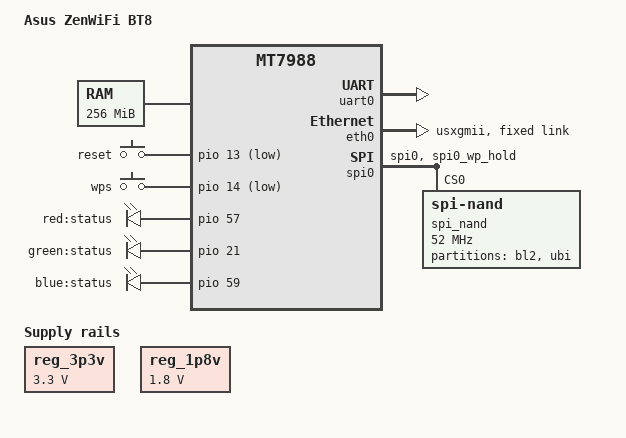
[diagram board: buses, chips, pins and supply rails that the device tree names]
// SPDX-License-Identifier: GPL-2.0
/*
 * Copyright (c) 2022 MediaTek Inc.
 * Author: Sam Shih <sam.shih@mediatek.com>
 */

/dts-v1/;
#include "mt7988.dtsi"
#include <dt-bindings/gpio/gpio.h>
#include <dt-bindings/input/linux-event-codes.h>

/ {
	model = "Asus ZenWiFi BT8";
	compatible = "asus,zenwifi-bt8", "mediatek,mt7988";

	chosen {
		stdout-path = &uart0;
	};

	memory@40000000 {
		device_type = "memory";
		reg = <0 0x40000000 0 0x10000000>;
	};

	reg_3p3v: regulator-3p3v {
		compatible = "regulator-fixed";
		regulator-name = "fixed-3.3V";
		regulator-min-microvolt = <3300000>;
		regulator-max-microvolt = <3300000>;
		regulator-boot-on;
		regulator-always-on;
	};

	reg_1p8v: regulator-1p8v {
		compatible = "regulator-fixed";
		regulator-name = "fixed-1.8V";
		regulator-min-microvolt = <1800000>;
		regulator-max-microvolt = <1800000>;
		regulator-boot-on;
		regulator-always-on;
	};

	keys {
		compatible = "gpio-keys";

		reset {
			label = "reset";
			linux,code = <KEY_RESTART>;
			gpios = <&pio 13 GPIO_ACTIVE_LOW>;
		};

		wps {
			label = "wps";
			linux,code = <KEY_WPS_BUTTON>;
			gpios = <&pio 14 GPIO_ACTIVE_LOW>;
		};
	};

	leds {
		compatible = "gpio-leds";

		led_status_red: led-red {
			label = "red:status";
			gpios = <&pio 57 GPIO_ACTIVE_HIGH>;
		};

		led_status_green: led-green {
			label = "green:status";
			gpios = <&pio 21 GPIO_ACTIVE_HIGH>;
		};

		led_status_blue: led-blue {
			label = "blue:status";
			gpios = <&pio 59 GPIO_ACTIVE_HIGH>;
		};
	};
};

&uart0 {
	status = "okay";
};

&eth0 {
	status = "okay";
	mediatek,gmac-id = <0>;
	phy-mode = "usxgmii";
	mediatek,switch = "mt7988";

	fixed-link {
		speed = <1000>;
		full-duplex;
		pause;
	};
};

&pio {
	spi0_pins: spi0-pins {
		mux {
			function = "spi";
			groups = "spi0", "spi0_wp_hold";
		};
	};
};

&spi0 {
	pinctrl-names = "default";
	pinctrl-0 = <&spi0_pins>;
	#address-cells = <1>;
	#size-cells = <0>;
	status = "okay";
	must_tx;
	enhance_timing;
	dma_ext;
	ipm_design;
	support_quad;
	tick_dly = <2>;
	sample_sel = <0>;

	spi_nand@0 {
		compatible = "spi-nand";
		reg = <0>;
		spi-max-frequency = <52000000>;
		partitions {
			compatible = "fixed-partitions";
			#address-cells = <1>;
			#size-cells = <1>;

			partition@0 {
				label = "bl2";
				reg = <0x0 0x200000>;
			};

			partition@200000 {
				label = "ubi";
				reg = <0x200000 0x7e00000>;
				compatible = "linux,ubi";
			};
		};
	};
};
